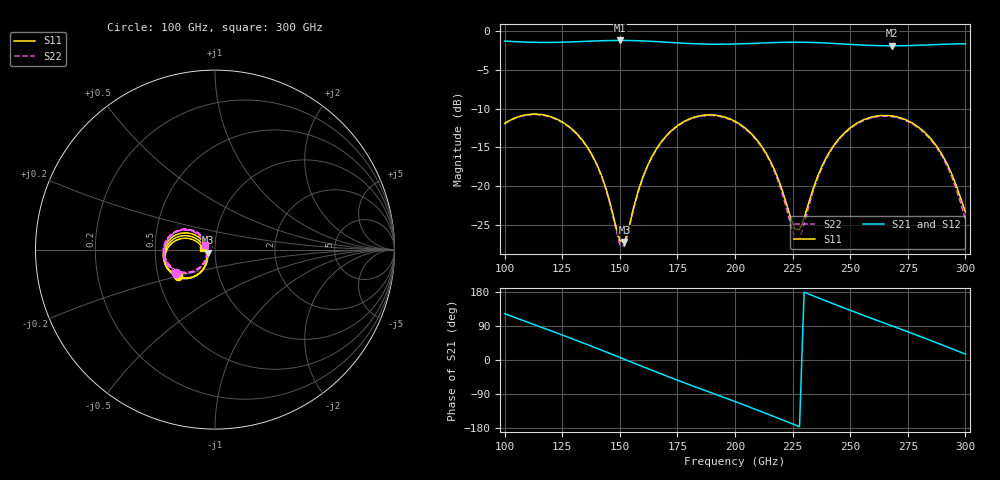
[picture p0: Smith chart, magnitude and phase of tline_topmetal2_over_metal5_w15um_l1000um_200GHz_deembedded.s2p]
! Created with skrf 2.0.1 (http://scikit-rf.org).
# GHz S DB R 50.0
!freq dBS11 angS11 dBS21 angS21 dBS12 angS12 dBS22 angS22
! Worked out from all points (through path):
!   101 points, 100 GHz to 300 GHz, reference 50 ohm
!   highest |S21| = -1.21 dB at 150 GHz (marker M1); lowest = -1.9 dB at 268 GHz (marker M2)
!   group delay of S21, straight-line fit = 6.5 ps
!   lowest |S11| = -27.2 dB at 152 GHz (marker M3), VSWR 1.09, Z = 46.1 - j1.58 ohm
!   |S11| at or under -10 dB: start of sweep to end of sweep
!   |S22| runs from -27.7 to -10.8 dB; largest |S21 - S12| = 9.5e-14
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100  -11.91 -144.0  -1.29 122.4  -1.29 122.4  -11.96 -149.4
116  -10.77 -175.4  -1.47 86.2  -1.47 86.2  -10.82 178.3
134  -14.15 151.6  -1.34 45.2  -1.34 45.2  -14.23 143.9
142  -18.58 142.7  -1.25 26.2  -1.25 26.2  -18.70 134.2
150  -26.99 175.1  -1.21 6.8  -1.21 6.8  -27.51 166.2
152  -27.20 -156.9  -1.22 1.9  -1.22 1.9  -27.73 -164.0
160  -18.82 -120.4  -1.28 -17.6  -1.28 -17.6  -18.93 -127.8
168  -14.28 -128.8  -1.40 -36.8  -1.40 -36.8  -14.35 -137.3
184  -10.97 -157.4  -1.66 -73.7  -1.66 -73.7  -11.04 -167.2
200  -11.64 173.1  -1.67 -109.7  -1.67 -109.7  -11.73 161.9
214  -15.99 151.8  -1.52 -142.3  -1.52 -142.3  -16.16 138.6
220  -20.07 151.1  -1.46 -156.7  -1.46 -156.7  -20.43 136.4
226  -25.51 -177.9  -1.44 -171.3  -1.44 -171.3  -26.71 168.6
228  -25.60 -155.6  -1.44 -176.1  -1.44 -176.1  -26.81 -165.4
234  -20.24 -122.7  -1.48 169.2  -1.48 169.2  -20.59 -131.4
240  -16.10 -123.0  -1.56 154.7  -1.56 154.7  -16.26 -133.3
248  -12.98 -133.8  -1.69 135.8  -1.69 135.8  -13.09 -145.5
258  -11.20 -151.1  -1.84 112.8  -1.84 112.8  -11.29 -164.0
268  -10.93 -169.0  -1.90 90.3  -1.90 90.3  -11.03 177.0
286  -14.24 161.3  -1.76 49.1  -1.76 49.1  -14.41 145.1
294  -18.38 155.9  -1.68 30.0  -1.68 30.0  -18.72 137.8
300  -23.30 171.9  -1.64 15.5  -1.64 15.5  -24.26 152.9
